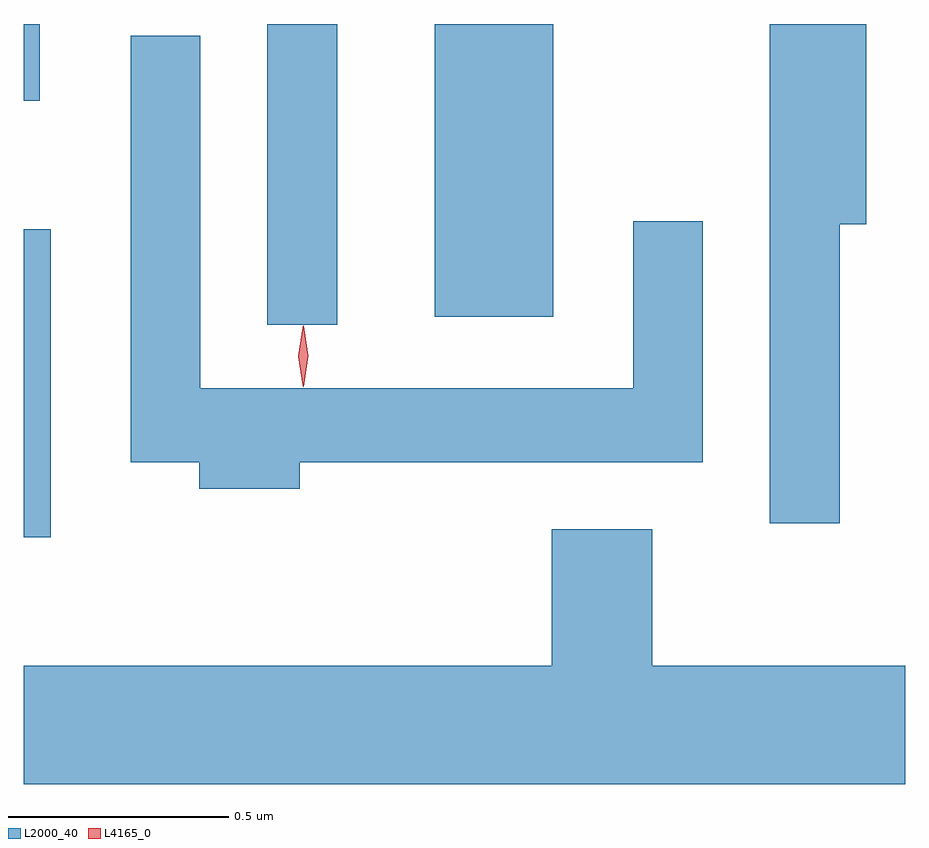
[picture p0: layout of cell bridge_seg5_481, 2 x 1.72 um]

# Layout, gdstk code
import gdstk
lib = gdstk.Library(unit=1e-6, precision=1e-09)
def R(c, l, rs):  # rectangles x0, y0, x1, y1
    for r in rs: c.add(gdstk.rectangle(r[:2], r[2:], *l))
def P(c, l, *ps):  # polygons
    for p in ps: c.add(gdstk.Polygon(p, *l))
L2000_40 = (2000, 40)
L4165_0 = (4165, 0)

bridge_seg5_481 = lib.new_cell('bridge_seg5_481')
R(bridge_seg5_481, L2000_40, [(387.853,1490.656,387.914,1491.354), (388.406,1491.138,388.564,1491.82), (388.786,1491.156,389.054,1491.819), (387.853,1491.646,387.889,1491.82)])
P(bridge_seg5_481, L2000_40, [(389.704,1491.366),(389.764,1491.366),(389.764,1491.82),(389.546,1491.82),(389.546,1490.688),(389.704,1490.688)],
  [(388.479,1490.826),(389.394,1490.826),(389.394,1491.373),(389.236,1491.373),(389.236,1490.994),(388.254,1490.994),(388.254,1491.793),(388.096,1491.793),(388.096,1490.826),(388.251,1490.826),(388.251,1490.766),(388.479,1490.766)],
  [(389.853,1490.364),(389.279,1490.364),(389.279,1490.674),(389.051,1490.674),(389.051,1490.364),(387.853,1490.364),(387.853,1490.096),(389.853,1490.096)])
P(bridge_seg5_481, L4165_0, [(388.487,1490.997),(388.478,1491.067),(388.487,1491.136),(388.488,1491.136),(388.488,1491.136),(388.498,1491.067),(388.488,1490.997),(388.488,1490.997)],
  [(388.486,1490.999),(388.486,1491),(388.476,1491.066),(388.486,1491.132),(388.486,1491.133),(388.487,1491.132),(388.496,1491.066),(388.487,1491)])

lib.write_gds('bridge_seg5_481.gds')
